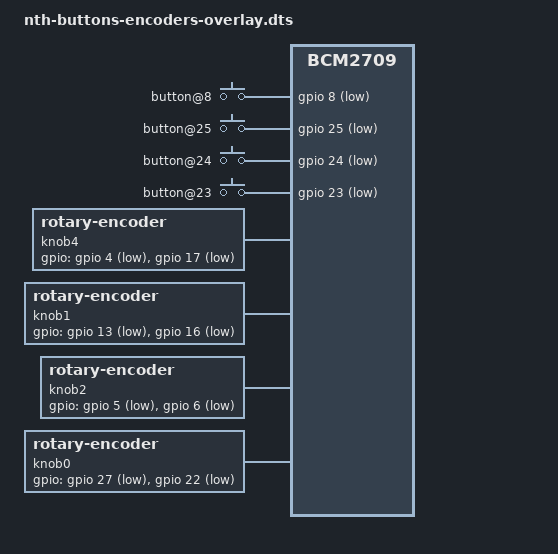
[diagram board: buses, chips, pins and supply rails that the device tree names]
/*
Device Tree overlay for nth Buttons and Encoders

Default pins (nth v1.0):
Button 1 = 8
Button 2 = 25
Button 3 = 24
Button 4 = 23

Knob 1 = 13, 16
Knob 2 = 5, 6
Knob 3 = 27, 22
Knob 4 = 4, 17
*/

/dts-v1/;
/plugin/;

/ {
    compatible = "brcm,bcm2835", "brcm,bcm2708", "brcm,bcm2709";

    fragment@0 {
        target-path = "/soc/gpio";
        __overlay__ {
            knob_pins4: knob_pins4 {
                brcm,pins = <4 17>;
                brcm,function = <0>;
                brcm,pull = <2>;
            };
        };
    };

    fragment@1 {
        target-path = "/soc";
        __overlay__ {
            knob4: knob4 {
                compatible = "rotary-encoder";
                #address-cells = <1>;
                #size-cells = <0>;
                pinctrl-names = "default";
                pinctrl-0 = <&knob_pins4>;
                gpios = <&gpio 4 1>, <&gpio 17 1>;
                linux,axis = <0>; /* REL_X */
                rotary-encoder,relative-axis;
		            rotary-encoder,half-period;
            };
        };
    };
    //__overrides__ {
        //relative_axis =  <&knob>,"rotary-encoder,relative-axis";
        //linux_axis =  <&knob>,"linux,axis";
        //rollover =  <&knob>,"rotary-encoder,rollover";
        //half-period =  <&knob>,"rotary-encoder,half-period";
        //steps =  <&knob>,"rotary-encoder,steps";
    //};

    fragment@2 {
        target-path = "/soc/gpio";
        __overlay__ {
            knob_pins1: knob_pins1 {
                brcm,pins = <13 16>;
                brcm,function = <0>;
                brcm,pull = <2>;
            };
        };
    };

    fragment@3 {
        target-path = "/soc";
        __overlay__ {
            knob1: knob1 {
                compatible = "rotary-encoder";
                #address-cells = <1>;
                #size-cells = <0>;
                pinctrl-names = "default";
                pinctrl-0 = <&knob_pins1>;
                gpios = <&gpio 13 1>, <&gpio 16 1>;
                linux,axis = <0>; /* REL_X */
                rotary-encoder,relative-axis;
		            rotary-encoder,half-period;
            };
        };
    };
    //__overrides__ {
        //relative_axis =  <&knob>,"rotary-encoder,relative-axis";
        //linux_axis =  <&knob>,"linux,axis";
        //rollover =  <&knob>,"rotary-encoder,rollover";
        //half-period =  <&knob>,"rotary-encoder,half-period";
        //steps =  <&knob>,"rotary-encoder,steps";
    //};

    fragment@4 {
        target-path = "/soc/gpio";
        __overlay__ {
            knob_pins2: knob_pins2 {
                brcm,pins = <5 6>;
                brcm,function = <0>;
                brcm,pull = <2>;
            };
        };
    };

    fragment@5 {
        target-path = "/soc";
        __overlay__ {
            knob2: knob2 {
                compatible = "rotary-encoder";
                #address-cells = <1>;
                #size-cells = <0>;
                pinctrl-names = "default";
                pinctrl-0 = <&knob_pins2>;
                gpios = <&gpio 5 1>, <&gpio 6 1>;
                linux,axis = <0>; /* REL_X */
                rotary-encoder,relative-axis;
		rotary-encoder,half-period;
            };
        };
    };
    //__overrides__ {
        //relative_axis =  <&knob>,"rotary-encoder,relative-axis";
        //linux_axis =  <&knob>,"linux,axis";
        //rollover =  <&knob>,"rotary-encoder,rollover";
        //half-period =  <&knob>,"rotary-encoder,half-period";
        //steps =  <&knob>,"rotary-encoder,steps";
    //};

    fragment@6 {
        target-path = "/soc/gpio";
        __overlay__ {
            knob_pins3: knob_pins3 {
                brcm,pins = <27 22>;
                brcm,function = <0>;
                brcm,pull = <2>;
            };
        };
    };

    fragment@7 {
        target-path = "/soc";
        __overlay__ {
            knob0: knob3 {
                compatible = "rotary-encoder";
                #address-cells = <1>;
                #size-cells = <0>;
                pinctrl-names = "default";
                pinctrl-0 = <&knob_pins3>;
                gpios = <&gpio 27 1>, <&gpio 22 1>;
                linux,axis = <0>; /* REL_X */
                rotary-encoder,relative-axis;
		            rotary-encoder,half-period;
            };
        };
    };
    //__overrides__ {
        //relative_axis =  <&knob>,"rotary-encoder,relative-axis";
        //linux_axis =  <&knob>,"linux,axis";
        //rollover =  <&knob>,"rotary-encoder,rollover";
        //half-period =  <&knob>,"rotary-encoder,half-period";
        //steps =  <&knob>,"rotary-encoder,steps";
    //};

    fragment@8 {
       target-path = "/";
       __overlay__ {
          keypad: keys {
             compatible = "gpio-keys";
             #address-cells = <1>;
             #size-cells = <0>;
             button@8 {
                linux,code = <17>; 		// KEY_W			17
                gpios = <&gpio 8 1>;
             };
             button@25 {
                linux,code = <30>;		// KEY_A			30
                gpios = <&gpio 25 1>;
             };
             button@24 {
                linux,code = <31>;		// KEY_S			31
                gpios = <&gpio 24 1>;
             };
             button@23 {
                linux,code = <32>;		// KEY_D			32
                gpios = <&gpio 23 1>;
             };
          };
       };
    };
};
